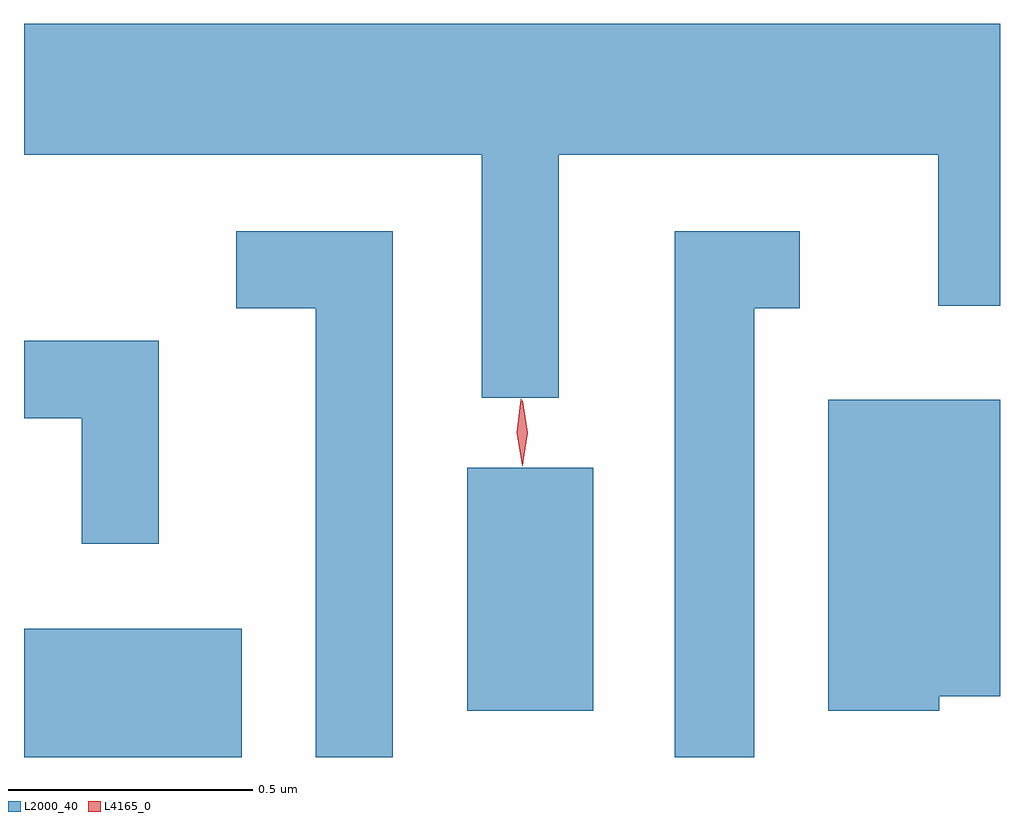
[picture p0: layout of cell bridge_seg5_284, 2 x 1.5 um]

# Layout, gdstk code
import gdstk
lib = gdstk.Library(unit=1e-6, precision=1e-09)
def R(c, l, rs):  # rectangles x0, y0, x1, y1
    for r in rs: c.add(gdstk.rectangle(r[:2], r[2:], *l))
def P(c, l, *ps):  # polygons
    for p in ps: c.add(gdstk.Polygon(p, *l))
L2000_40 = (2000, 40)
L4165_0 = (4165, 0)

bridge_seg5_284 = lib.new_cell('bridge_seg5_284')
R(bridge_seg5_284, L2000_40, [(949.158,1468.881,949.604,1469.144), (950.066,1468.976,950.324,1469.474)])
P(bridge_seg5_284, L2000_40, [(950.254,1470.116),(951.031,1470.116),(951.031,1469.806),(951.158,1469.806),(951.158,1470.384),(949.158,1470.384),(949.158,1470.116),(950.096,1470.116),(950.096,1469.618),(950.254,1469.618)],
  [(949.914,1469.959),(949.593,1469.959),(949.593,1469.801),(949.756,1469.801),(949.756,1468.881),(949.914,1468.881)],
  [(950.654,1469.801),(950.748,1469.801),(950.748,1469.959),(950.491,1469.959),(950.491,1468.881),(950.654,1468.881)],
  [(949.434,1469.734),(949.158,1469.734),(949.158,1469.576),(949.276,1469.576),(949.276,1469.318),(949.434,1469.318)],
  [(951.034,1469.006),(951.158,1469.006),(951.158,1469.614),(950.806,1469.614),(950.806,1468.976),(951.034,1468.976)])
P(bridge_seg5_284, L4165_0, [(950.179,1469.478),(950.168,1469.546),(950.176,1469.615),(950.177,1469.616),(950.177,1469.615),(950.188,1469.547),(950.18,1469.478),(950.18,1469.478)],
  [(950.18,1469.48),(950.179,1469.481),(950.169,1469.546),(950.179,1469.612),(950.18,1469.612),(950.18,1469.612),(950.19,1469.546),(950.18,1469.481)])

lib.write_gds('bridge_seg5_284.gds')
